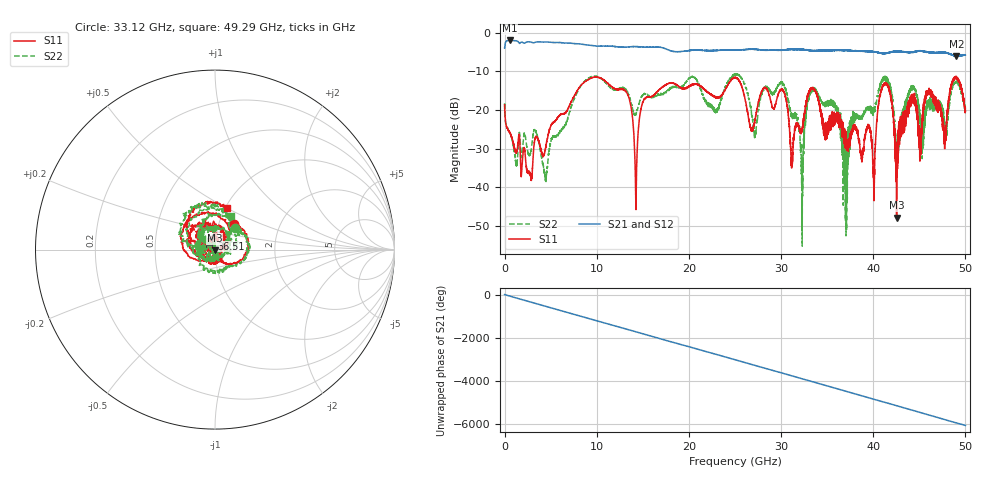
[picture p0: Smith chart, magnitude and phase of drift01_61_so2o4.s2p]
!Created with skrf (http://scikit-rf.org).
# Hz S RI R 50.0
!freq ReS11 ImS11 ReS21 ImS21 ReS12 ImS12 ReS22 ImS22
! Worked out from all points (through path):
!   10001 points, 300 kHz to 50 GHz, reference 50 ohm
!   highest |S21| = -2.00 dB at 570.3 MHz (marker M1); lowest = -6.1 dB at 49.04 GHz (marker M2)
!   group delay of S21, straight-line fit = 336 ps
!   lowest |S11| = -47.8 dB at 42.54 GHz (marker M3), VSWR 1.01, Z = 49.8 - j0.325 ohm
!   |S11| at or under -10 dB: start of sweep to end of sweep
!   |S22| runs from -55.2 to -10.6 dB; largest |S21 - S12| = 0.019
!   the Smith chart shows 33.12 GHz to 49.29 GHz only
!   S11 on the Smith chart (normalised r, x): 33.12 GHz: 1.18, +0.35; 36.51 GHz: 0.95, +0.12; 49.29 GHz: 1.05, +0.51
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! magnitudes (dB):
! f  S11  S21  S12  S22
! 300 kHz  -18.6  -4.0  -4.1  -18.2
! 570.3 MHz  -25.9  -2.0  -2.0  -26.0
! 4.445 GHz  -29.8  -2.4  -2.4  -37.7
! 8.335 GHz  -13.5  -3.0  -3.0  -13.5
! 13.17 GHz  -15.2  -3.7  -3.7  -14.6
! 14.25 GHz  -45.8  -3.6  -3.6  -21.1
! 16.67 GHz  -14.9  -3.7  -3.7  -15.9
! 25 GHz  -11.6  -4.5  -4.5  -11.0
! 27.18 GHz  -22.3  -4.3  -4.3  -26.1
! 30.22 GHz  -14.9  -4.5  -4.5  -13.6
! 31.16 GHz  -32.5  -4.3  -4.3  -21.2
! 32.28 GHz  -25.0  -4.3  -4.3  -50.3
! 33.12 GHz  -15.0  -4.6  -4.6  -15.9
! 33.34 GHz  -14.2  -4.6  -4.6  -14.7
! 36.51 GHz  -23.7  -4.5  -4.5  -22.5
! 40.04 GHz  -37.3  -4.9  -4.9  -19.9
! 41.67 GHz  -13.9  -5.1  -5.1  -13.1
! 42.54 GHz  -47.8  -4.9  -4.9  -31.9
! 44.13 GHz  -16.9  -5.0  -5.0  -14.1
! 49.04 GHz  -11.8  -6.1  -6.0  -12.6
! 49.29 GHz  -12.3  -5.9  -5.9  -13.5
! 50 GHz  -20.2  -5.8  -5.8  -19.4
